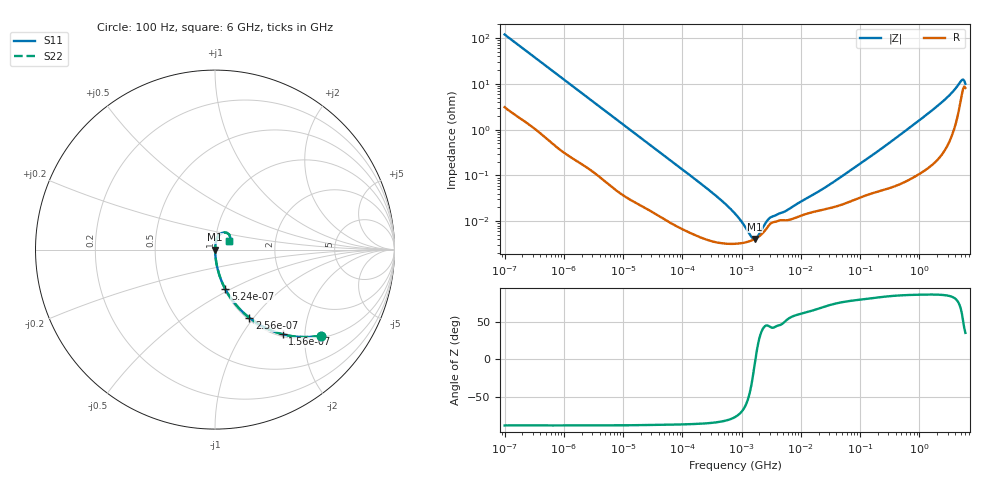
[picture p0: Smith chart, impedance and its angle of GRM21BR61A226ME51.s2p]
!Murata Part Number: GRM21BR61A226ME51
!These Parameters are Measured in Series Mode Connection
!Data Generated on Mar 30, 2021
!  o--ll--o
!Port1  Port2
!  o------o
!Operation Temp=25[degC], DC Bias Voltage=0[V]
!Freq. Start=100[Hz] Stop=6[GHz] 401[Steps]
# Hz S RI R 50
!Freq.(Hz) S11(Real) S11(Imag) S21(Real) S21(Imag) S12(Real) S12(Imag) S22(Real) S22(Imag)
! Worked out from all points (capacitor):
!   401 points, 100 Hz to 6 GHz, reference 50 ohm
!   read as one part in series: C = 13.2 uF near 109 Hz
!   lowest |Z| = 4.1 mohm at 1.658 MHz (marker M1)
!   series resonance near 1.716 MHz, so ESL is about 650 pH
!   S11 on the Smith chart (normalised r, x): 100 Hz: 1.06, -2.40; 156 Hz: 1.04, -1.54; 256 Hz: 1.03, -0.95; 524 Hz: 1.01, -0.47; 6 GHz: 1.16, +0.12
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100  0.5885 -0.4794  0.4115 0.4794  0.4115 0.4794  0.5885 -0.4794
156  0.377 -0.4717  0.623 0.4717  0.623 0.4717  0.377 -0.4717
256  0.1915 -0.38  0.8085 0.38  0.8085 0.38  0.1915 -0.38
524  0.0579 -0.2208  0.9421 0.2208  0.9421 0.2208  0.0579 -0.2208
981  0.019 -0.1243  0.981 0.1243  0.981 0.1243  0.019 -0.1243
2008  0.00566 -0.0623  0.9943 0.0623  0.9943 0.0623  0.00566 -0.0623
6433  0.000963 -0.02  0.999 0.02  0.999 0.02  0.000963 -0.02
40335  0.000141 -0.0033  0.9999 0.0033  0.9999 0.0033  0.000141 -0.0033
316350  3.66e-05 -0.000424  1 0.000424  1 0.000424  3.66e-05 -0.000424
774597  3.22e-05 -0.000144  1 0.000144  1 0.000144  3.22e-05 -0.000144
1013323  3.33e-05 -8.99e-05  1 8.99e-05  1 8.99e-05  3.33e-05 -8.99e-05
1658239  4.06e-05 -5.6e-06  1 5.6e-06  1 5.6e-06  4.06e-05 -5.6e-06
2594782  6.73e-05 6.72e-05  0.9999 -6.72e-05  0.9999 -6.72e-05  6.73e-05 6.72e-05
3245845  9.32e-05 8.4e-05  0.9999 -8.4e-05  0.9999 -8.4e-05  9.32e-05 8.4e-05
5809218  0.000105 0.000137  0.9999 -0.000137  0.9999 -0.000137  0.000105 0.000137
1.555665e7  0.000158 0.000335  0.9998 -0.000335  0.9998 -0.000335  0.000158 0.000335
3.983537e7  0.000212 0.000764  0.9998 -0.000764  0.9998 -0.000764  0.000212 0.000764
3.124326e8  0.000554 0.00513  0.9994 -0.00513  0.9994 -0.00513  0.000554 0.00513
2.142435e9  0.00358 0.0348  0.9964 -0.0348  0.9964 -0.0348  0.00358 0.0348
3.352442e9  0.00954 0.0582  0.9905 -0.0582  0.9905 -0.0582  0.00954 0.0582
5.016141e9  0.0517 0.0957  0.9483 -0.0957  0.9483 -0.0957  0.0517 0.0957
6e9  0.0782 0.049  0.9218 -0.049  0.9218 -0.049  0.0782 0.049
